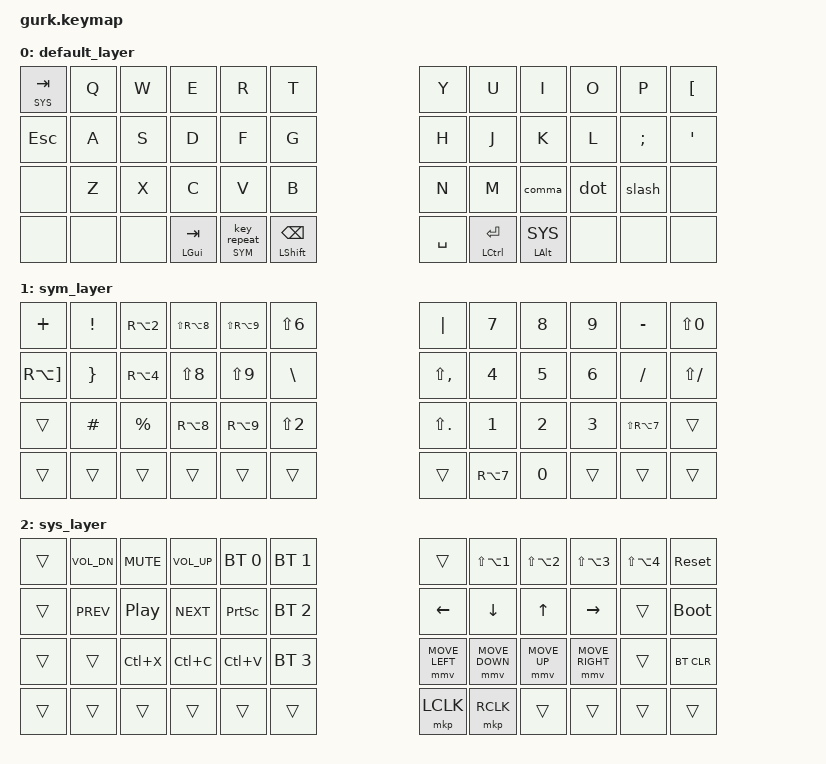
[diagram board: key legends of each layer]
#include <behaviors.dtsi>
#include <dt-bindings/zmk/keys.h>
#include <dt-bindings/zmk/bt.h>
#include <dt-bindings/zmk/outputs.h>
#include <dt-bindings/zmk/pointing.h>

#define DEFAULT 0
#define SYM 1
#define SYS 2

#define _ &trans
#define xxx &none

// Custom modifiers and keys for base layer
#define systab &lt SYS TAB
#define guitab &mt LGUI TAB
#define symrep &morep SYM 0
#define shbspc &mt LSHIFT BSPC
#define space  &kp SPACE
#define ctrret &mt LCTRL RET
#define sysalt &ltt LALT SYS

// Custom modifiers and keys for sys layer
#define space1 &kp LA(N1)
#define space2 &kp LA(N2)
#define space3 &kp LA(N3)
#define space4 &kp LA(N4)
#define sspac1 &kp LS(LA(N1))
#define sspac2 &kp LS(LA(N2))
#define sspac3 &kp LS(LA(N3))
#define sspac4 &kp LS(LA(N4))
#define cut &kp LC(X)
#define copy &kp LC(C)
#define paste &kp LC(V)

// Sym layer (weird bc SE KB layout)
#define grav &kp PLUS
#define tild &kp RA(RBKT)
#define excl &kp EXCL
#define circ &kp RBRC
#define hash &kp HASH
#define at   &kp RA(N2)
#define dolr &kp RA(N4)
#define prcn &kp PRCNT
#define lcbr &kp LS(RA(N8))
#define rcbr &kp LS(RA(N9))
#define lprn &kp LS(N8)
#define rprn &kp LS(N9)
#define lbrc &kp RA(N8)
#define rbrc &kp RA(N9)
#define ampr &kp LS(N6)
#define quot &kp BSLH
#define dquo &kp LS(N2)
#define astr &kp PIPE
#define scln &kp LS(COMMA)
#define coln &kp LS(DOT)
#define num0 &kp N0
#define num1 &kp N1
#define num2 &kp N2
#define num3 &kp N3
#define num4 &kp N4
#define num5 &kp N5
#define num6 &kp N6
#define num7 &kp N7
#define num8 &kp N8
#define num9 &kp N9
#define pipe &kp RA(N7)
#define ques &kp LS(MINUS)
#define plus &kp MINUS
#define mins &kp FSLH
#define bsls &kp LS(RA(N7))
#define equl &kp LS(N0)
#define unds &kp LS(FSLH)

&mt {
  tapping-term-ms = <250>;
  quick-tap-ms = <250>;
};

/ {
    behaviors {
      comma: ansi_comma {
        compatible = "zmk,behavior-mod-morph";
        label = "ANSI_COMMA";
        #binding-cells = <0>;
        bindings = <&kp COMMA>, <&kp NUBS>;
        mods = <(MOD_LSFT)>;
      };
      dot: ansi_dot {
        compatible = "zmk,behavior-mod-morph";
        label = "ANSI_DOT";
        #binding-cells = <0>;
        bindings = <&kp DOT>, <&kp LS(NUBS)>;
        mods = <(MOD_LSFT)>;
      };
      slash: ansi_slash {
        compatible = "zmk,behavior-mod-morph";
        label = "ANSI_SLASH";
        #binding-cells = <0>;
        bindings = <&kp LS(N7)>, <&kp LS(MINUS)>;
        mods = <(MOD_LSFT)>;
      };
      morep: mo_repeat {
        compatible = "zmk,behavior-hold-tap";
        label = "MO_REPEAT";
        #binding-cells = <2>;
        flavor = "hold-preferred";
        tapping-term-ms = <250>;
        quick-tap-ms = <250>;
        bindings = <&mo>, <&key_repeat>;
      };
      ltt: layer_tap_toggle {
        compatible = "zmk,behavior-hold-tap";
        label = "LAYER_TAP_TOGGLE";
        #binding-cells = <2>;
        flavor = "hold-preferred";
        tapping-term-ms = <250>;
        quick-tap-ms = <250>;
        bindings = <&kp>, <&tog>;
      };
    };

    keymap {
        compatible = "zmk,keymap";

        default_layer {
// -------------------------------------------------------------                     -------------------------------------------------------------
// | SYSTAB  |    Q    |    W    |    E    |    R    |    T    |                     |    Y    |    U    |    I    |    O    |    P    |    Å    |
// |---------|---------|---------|---------|---------|---------|                     |---------|---------|---------|---------|---------|---------|
// |   ESC   |    A    |    S    |    D    |    F    |    G    |                     |    H    |    J    |    K    |    L    |    Ö    |    Ä    |
// ----------|---------|---------|---------|---------|---------|                     |---------|---------|---------|---------|---------|----------
//           |    Z    |    X    |    C    |    V    |    B    |                     |    N    |    M    |    ,    |    .    |    /    |
//           --------------------|---------|---------|---------|---------- ----------|---------|---------|---------|---------|----------
//                               |         |   TAB   |   REP   |  BSPC   | |  SPACE  | RETURN  | SYSTOG  |         |
//                               |         |   GUI   |   SYM   |  SHIFT  | |         |  CTRL   |   ALT   |         |
//                               ----------------------------------------- -----------------------------------------
            bindings = <
    systab   &kp Q  &kp W  &kp E  &kp R   &kp T                 &kp Y   &kp U   &kp I   &kp O  &kp P      &kp LBKT
    &kp ESC  &kp A  &kp S  &kp D  &kp F   &kp G                 &kp H   &kp J   &kp K   &kp L  &kp SEMI   &kp SQT
    xxx      &kp Z  &kp X  &kp C  &kp V   &kp B                 &kp N   &kp M   &comma  &dot   &slash     xxx   
             xxx    xxx    xxx    guitab  symrep shbspc  space  ctrret  sysalt  xxx     xxx    xxx
            >;
        };

        sym_layer {
//      ` ! @ { } &    * 7 8 9 + =
//      ~ ^ $ ( ) '    ; 4 5 6 - _
//        # % [ ] "    : 1 2 3 \ 
//                     | 0
            bindings = <
    grav  excl  at     lcbr  rcbr  ampr      astr  num7  num8  num9  plus  equl
    tild  circ  dolr   lprn  rprn  quot      scln  num4  num5  num6  mins  unds
    _     hash  prcn   lbrc  rbrc  dquo      coln  num1  num2  num3  bsls  _     
    _     _     _      _     _     _         _     pipe  num0  _     _     _
            >;
        };

        sys_layer {
            bindings = <
    _  &kp C_VOL_DN  &kp C_MUTE  &kp C_VOL_UP  &bt BT_SEL 0  &bt BT_SEL 1        _               sspac1          sspac2        sspac3           sspac4  &sys_reset
    _  &kp C_PREV    &kp C_PP    &kp C_NEXT    &kp PSCRN     &bt BT_SEL 2        &kp LEFT        &kp DOWN        &kp UP        &kp RIGHT        _       &bootloader
    _  _             cut         copy          paste         &bt BT_SEL 3        &mmv MOVE_LEFT  &mmv MOVE_DOWN  &mmv MOVE_UP  &mmv MOVE_RIGHT  _       &bt BT_CLR
    _  _             _           _             _             _                   &mkp LCLK       &mkp RCLK       _             _                _       _     
            >;
        };
    };
};
